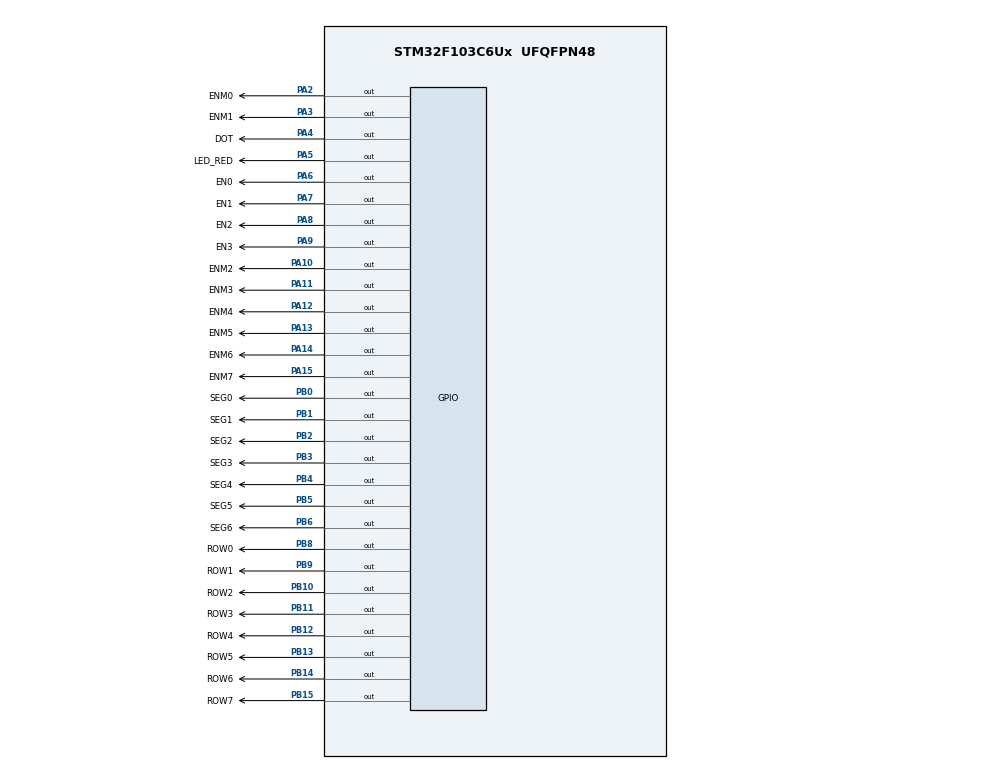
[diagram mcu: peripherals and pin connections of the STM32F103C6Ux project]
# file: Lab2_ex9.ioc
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Mcu.Family=STM32F1
Mcu.Name=STM32F103C6Ux
Mcu.Package=UFQFPN48
NVIC.PriorityGroup=NVIC_PRIORITYGROUP_4
NVIC.TIM2_IRQn=true\:0\:0\:false\:false\:true\:true\:true
PA10.GPIO_Label=ENM2
PA10.Signal=GPIO_Output
PA11.GPIO_Label=ENM3
PA11.Signal=GPIO_Output
PA12.GPIO_Label=ENM4
PA12.Signal=GPIO_Output
PA13.GPIO_Label=ENM5
PA13.Signal=GPIO_Output
PA14.GPIO_Label=ENM6
PA14.Signal=GPIO_Output
PA15.GPIO_Label=ENM7
PA15.Signal=GPIO_Output
PA2.GPIO_Label=ENM0
PA2.Signal=GPIO_Output
PA3.GPIO_Label=ENM1
PA3.Signal=GPIO_Output
PA4.GPIO_Label=DOT
PA4.Signal=GPIO_Output
PA5.GPIO_Label=LED_RED
PA5.Signal=GPIO_Output
PA6.GPIO_Label=EN0
PA6.Signal=GPIO_Output
PA7.GPIO_Label=EN1
PA7.Signal=GPIO_Output
PA8.GPIO_Label=EN2
PA8.Signal=GPIO_Output
PA9.GPIO_Label=EN3
PA9.Signal=GPIO_Output
PB0.GPIO_Label=SEG0
PB0.Signal=GPIO_Output
PB1.GPIO_Label=SEG1
PB1.Signal=GPIO_Output
PB10.GPIO_Label=ROW2
PB10.Signal=GPIO_Output
PB11.GPIO_Label=ROW3
PB11.Signal=GPIO_Output
PB12.GPIO_Label=ROW4
PB12.Signal=GPIO_Output
PB13.GPIO_Label=ROW5
PB13.Signal=GPIO_Output
PB14.GPIO_Label=ROW6
PB14.Signal=GPIO_Output
PB15.GPIO_Label=ROW7
PB15.Signal=GPIO_Output
PB2.GPIO_Label=SEG2
PB2.Signal=GPIO_Output
PB3.GPIO_Label=SEG3
PB3.Signal=GPIO_Output
PB4.GPIO_Label=SEG4
PB4.Signal=GPIO_Output
PB5.GPIO_Label=SEG5
PB5.Signal=GPIO_Output
PB6.GPIO_Label=SEG6
PB6.Signal=GPIO_Output
PB8.GPIO_Label=ROW0
PB8.Signal=GPIO_Output
PB9.GPIO_Label=ROW1
PB9.Signal=GPIO_Output
ProjectManager.HeapSize=0x200
ProjectManager.StackSize=0x400
ProjectManager.TargetToolchain=STM32CubeIDE
RCC.APB1Freq_Value=8000000
RCC.APB2Freq_Value=8000000
TIM2.Period=9
TIM2.Prescaler=7999
VP_SYS_VS_ND.Mode=No_Debug
VP_TIM2_VS_ClockSourceINT.Mode=Internal
board=custom

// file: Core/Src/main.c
/* USER CODE BEGIN Header */
/**
  ******************************************************************************
  * @file           : main.c
  * @brief          : Main program body
  ******************************************************************************
  * @attention
  *
  * <h2><center>&copy; Copyright (c) 2022 STMicroelectronics.
  * All rights reserved.</center></h2>
  *
  * This software component is licensed by ST under BSD 3-Clause license,
  * the "License"; You may not use this file except in compliance with the
  * License. You may obtain a copy of the License at:
  *                        opensource.org/licenses/BSD-3-Clause
  *
  ******************************************************************************
  */
/* USER CODE END Header */
#include "main.h"
#include "software_timer.h"

TIM_HandleTypeDef htim2;

void SystemClock_Config(void);
static void MX_GPIO_Init(void);
static void MX_TIM2_Init(void);

/* USER CODE BEGIN 0 */
void display7SEG(int num) {
	if (num==0) {
		HAL_GPIO_WritePin(SEG0_GPIO_Port, SEG0_Pin, RESET);
		HAL_GPIO_WritePin(SEG1_GPIO_Port, SEG1_Pin, RESET);
		HAL_GPIO_WritePin(SEG2_GPIO_Port, SEG2_Pin, RESET);
		HAL_GPIO_WritePin(SEG3_GPIO_Port, SEG3_Pin, RESET);
		HAL_GPIO_WritePin(SEG4_GPIO_Port, SEG4_Pin, RESET);
		HAL_GPIO_WritePin(SEG5_GPIO_Port, SEG5_Pin, RESET);
		HAL_GPIO_WritePin(SEG6_GPIO_Port, SEG6_Pin, SET);
	}
	if (num==1) {
		HAL_GPIO_WritePin(SEG0_GPIO_Port, SEG0_Pin, SET);
		HAL_GPIO_WritePin(SEG1_GPIO_Port, SEG1_Pin, RESET);
		HAL_GPIO_WritePin(SEG2_GPIO_Port, SEG2_Pin, RESET);
		HAL_GPIO_WritePin(SEG3_GPIO_Port, SEG3_Pin, SET);
		HAL_GPIO_WritePin(SEG4_GPIO_Port, SEG4_Pin, SET);
		HAL_GPIO_WritePin(SEG5_GPIO_Port, SEG5_Pin, SET);
		HAL_GPIO_WritePin(SEG6_GPIO_Port, SEG6_Pin, SET);
	}
	if (num==2) {
		HAL_GPIO_WritePin(SEG0_GPIO_Port, SEG0_Pin, RESET);
		HAL_GPIO_WritePin(SEG1_GPIO_Port, SEG1_Pin, RESET);
		HAL_GPIO_WritePin(SEG2_GPIO_Port, SEG2_Pin, SET);
		HAL_GPIO_WritePin(SEG3_GPIO_Port, SEG3_Pin, RESET);
		HAL_GPIO_WritePin(SEG4_GPIO_Port, SEG4_Pin, RESET);
		HAL_GPIO_WritePin(SEG5_GPIO_Port, SEG5_Pin, SET);
		HAL_GPIO_WritePin(SEG6_GPIO_Port, SEG6_Pin, RESET);
	}
	if (num==3) {
		HAL_GPIO_WritePin(SEG0_GPIO_Port, SEG0_Pin, RESET);
		HAL_GPIO_WritePin(SEG1_GPIO_Port, SEG1_Pin, RESET);
		HAL_GPIO_WritePin(SEG2_GPIO_Port, SEG2_Pin, RESET);
		HAL_GPIO_WritePin(SEG3_GPIO_Port, SEG3_Pin, RESET);
		HAL_GPIO_WritePin(SEG4_GPIO_Port, SEG4_Pin, SET);
		HAL_GPIO_WritePin(SEG5_GPIO_Port, SEG5_Pin, SET);
		HAL_GPIO_WritePin(SEG6_GPIO_Port, SEG6_Pin, RESET);
	}
	if (num==4) {
		HAL_GPIO_WritePin(SEG0_GPIO_Port, SEG0_Pin, SET);
		HAL_GPIO_WritePin(SEG1_GPIO_Port, SEG1_Pin, RESET);
		HAL_GPIO_WritePin(SEG2_GPIO_Port, SEG2_Pin, RESET);
		HAL_GPIO_WritePin(SEG3_GPIO_Port, SEG3_Pin, SET);
		HAL_GPIO_WritePin(SEG4_GPIO_Port, SEG4_Pin, SET);
		HAL_GPIO_WritePin(SEG5_GPIO_Port, SEG5_Pin, RESET);
		HAL_GPIO_WritePin(SEG6_GPIO_Port, SEG6_Pin, RESET);
	}
	if (num==5) {
		HAL_GPIO_WritePin(SEG0_GPIO_Port, SEG0_Pin, RESET);
		HAL_GPIO_WritePin(SEG1_GPIO_Port, SEG1_Pin, SET);
		HAL_GPIO_WritePin(SEG2_GPIO_Port, SEG2_Pin, RESET);
		HAL_GPIO_WritePin(SEG3_GPIO_Port, SEG3_Pin, RESET);
		HAL_GPIO_WritePin(SEG4_GPIO_Port, SEG4_Pin, SET);
		HAL_GPIO_WritePin(SEG5_GPIO_Port, SEG5_Pin, RESET);
		HAL_GPIO_WritePin(SEG6_GPIO_Port, SEG6_Pin, RESET);
	}
	if (num==6) {
		HAL_GPIO_WritePin(SEG0_GPIO_Port, SEG0_Pin, RESET);
		HAL_GPIO_WritePin(SEG1_GPIO_Port, SEG1_Pin, SET);
		HAL_GPIO_WritePin(SEG2_GPIO_Port, SEG2_Pin, RESET);
		HAL_GPIO_WritePin(SEG3_GPIO_Port, SEG3_Pin, RESET);
		HAL_GPIO_WritePin(SEG4_GPIO_Port, SEG4_Pin, RESET);
		HAL_GPIO_WritePin(SEG5_GPIO_Port, SEG5_Pin, RESET);
		HAL_GPIO_WritePin(SEG6_GPIO_Port, SEG6_Pin, RESET);
	}
	if (num==7) {
		HAL_GPIO_WritePin(SEG0_GPIO_Port, SEG0_Pin, RESET);
		HAL_GPIO_WritePin(SEG1_GPIO_Port, SEG1_Pin, RESET);
		HAL_GPIO_WritePin(SEG2_GPIO_Port, SEG2_Pin, RESET);
		HAL_GPIO_WritePin(SEG3_GPIO_Port, SEG3_Pin, SET);
		HAL_GPIO_WritePin(SEG4_GPIO_Port, SEG4_Pin, SET);
		HAL_GPIO_WritePin(SEG5_GPIO_Port, SEG5_Pin, SET);
		HAL_GPIO_WritePin(SEG6_GPIO_Port, SEG6_Pin, SET);
	}
	if (num==8) {
		HAL_GPIO_WritePin(SEG0_GPIO_Port, SEG0_Pin, RESET);
		HAL_GPIO_WritePin(SEG1_GPIO_Port, SEG1_Pin, RESET);
		HAL_GPIO_WritePin(SEG2_GPIO_Port, SEG2_Pin, RESET);
		HAL_GPIO_WritePin(SEG3_GPIO_Port, SEG3_Pin, RESET);
		HAL_GPIO_WritePin(SEG4_GPIO_Port, SEG4_Pin, RESET);
		HAL_GPIO_WritePin(SEG5_GPIO_Port, SEG5_Pin, RESET);
		HAL_GPIO_WritePin(SEG6_GPIO_Port, SEG6_Pin, RESET);
	}
	if (num==9) {
		HAL_GPIO_WritePin(SEG0_GPIO_Port, SEG0_Pin, RESET);
		HAL_GPIO_WritePin(SEG1_GPIO_Port, SEG1_Pin, RESET);
		HAL_GPIO_WritePin(SEG2_GPIO_Port, SEG2_Pin, RESET);
		HAL_GPIO_WritePin(SEG3_GPIO_Port, SEG3_Pin, RESET);
		HAL_GPIO_WritePin(SEG4_GPIO_Port, SEG4_Pin, SET);
		HAL_GPIO_WritePin(SEG5_GPIO_Port, SEG5_Pin, RESET);
		HAL_GPIO_WritePin(SEG6_GPIO_Port, SEG6_Pin, RESET);
	}
}
const int MAX_LED=4;
int index_led=0;
int led_buffer[4]={1,2,3,4};
int hour,minute,second;
void updateClockBuffer() {
	led_buffer[1]=hour%10;
	led_buffer[0]=hour/10;
	led_buffer[3]=minute%10;
	led_buffer[2]=minute/10;
}
void update7SEG(int index) {
	switch (index){
	case 0:
		HAL_GPIO_WritePin(EN0_GPIO_Port, EN0_Pin, RESET);
		HAL_GPIO_WritePin(EN1_GPIO_Port, EN1_Pin, SET);
		HAL_GPIO_WritePin(EN2_GPIO_Port, EN2_Pin, SET);
		HAL_GPIO_WritePin(EN3_GPIO_Port, EN3_Pin, SET);
		display7SEG(led_buffer[0]);
		break;
	case 1:
		HAL_GPIO_WritePin(EN0_GPIO_Port, EN0_Pin, SET);
		HAL_GPIO_WritePin(EN1_GPIO_Port, EN1_Pin, RESET);
		HAL_GPIO_WritePin(EN2_GPIO_Port, EN2_Pin, SET);
		HAL_GPIO_WritePin(EN3_GPIO_Port, EN3_Pin, SET);
		display7SEG(led_buffer[1]);
		break;
	case 2:
		HAL_GPIO_WritePin(EN0_GPIO_Port, EN0_Pin, SET);
		HAL_GPIO_WritePin(EN1_GPIO_Port, EN1_Pin, SET);
		HAL_GPIO_WritePin(EN2_GPIO_Port, EN2_Pin, SET);
		HAL_GPIO_WritePin(EN3_GPIO_Port, EN3_Pin, RESET);
		display7SEG(led_buffer[2]);
		break;
	case 3:
		HAL_GPIO_WritePin(EN0_GPIO_Port, EN0_Pin, SET);
		HAL_GPIO_WritePin(EN1_GPIO_Port, EN1_Pin, SET);
		HAL_GPIO_WritePin(EN2_GPIO_Port, EN2_Pin, RESET);
		HAL_GPIO_WritePin(EN3_GPIO_Port, EN3_Pin, SET);
		display7SEG(led_buffer[3]);
		break;
	default:
		break;
	}
}
const int MAX_LED_MATRIX=8;
int index_led_matrix=0;
uint8_t matrix_buffer[8]={0x18, 0x24, 0x42, 0x42, 0x7E, 0x42, 0x42, 0x42};
void clearcol() {
	HAL_GPIO_WritePin(ENM0_GPIO_Port, ENM0_Pin, RESET);
	HAL_GPIO_WritePin(ENM1_GPIO_Port, ENM1_Pin, RESET);
	HAL_GPIO_WritePin(ENM2_GPIO_Port, ENM2_Pin, RESET);
	HAL_GPIO_WritePin(ENM3_GPIO_Port, ENM3_Pin, RESET);
	HAL_GPIO_WritePin(ENM4_GPIO_Port, ENM4_Pin, RESET);
	HAL_GPIO_WritePin(ENM5_GPIO_Port, ENM5_Pin, RESET);
	HAL_GPIO_WritePin(ENM6_GPIO_Port, ENM6_Pin, RESET);
	HAL_GPIO_WritePin(ENM7_GPIO_Port, ENM7_Pin, RESET);
}
void updateLEDMatrix(int index) {
	switch (index) {
	case 0:
		clearcol();
		HAL_GPIO_WritePin(ENM0_GPIO_Port, ENM0_Pin, SET);
		HAL_GPIO_WritePin(ROW7_GPIO_Port, ROW7_Pin, RESET);
		HAL_GPIO_WritePin(ROW0_GPIO_Port, 0xFF00, RESET);
		HAL_GPIO_WritePin(ROW0_GPIO_Port, matrix_buffer[0]*0x100, SET);
		break;
	case 1:
		clearcol();
		HAL_GPIO_WritePin(ENM1_GPIO_Port, ENM1_Pin, SET);
		HAL_GPIO_WritePin(ROW0_GPIO_Port, ROW0_Pin, RESET);
		HAL_GPIO_WritePin(ROW1_GPIO_Port, 0xFF00, RESET);
		HAL_GPIO_WritePin(ROW1_GPIO_Port, matrix_buffer[1]*0x100, SET);
		break;
	case 2:
		clearcol();
		HAL_GPIO_WritePin(ENM2_GPIO_Port, ENM2_Pin, SET);
		HAL_GPIO_WritePin(ROW1_GPIO_Port, ROW1_Pin, RESET);
		HAL_GPIO_WritePin(ROW2_GPIO_Port, 0xFF00, RESET);
		HAL_GPIO_WritePin(ROW2_GPIO_Port, matrix_buffer[2]*0x100, SET);
		break;
	case 3:
		clearcol();
		HAL_GPIO_WritePin(ENM3_GPIO_Port, ENM3_Pin, SET);
		HAL_GPIO_WritePin(ROW2_GPIO_Port, ROW2_Pin, RESET);
		HAL_GPIO_WritePin(ROW3_GPIO_Port, 0xFF00, RESET);
		HAL_GPIO_WritePin(ROW3_GPIO_Port, matrix_buffer[3]*0x100, SET);
		break;
	case 4:
		clearcol();
		HAL_GPIO_WritePin(ENM4_GPIO_Port, ENM4_Pin, SET);
		HAL_GPIO_WritePin(ROW3_GPIO_Port, ROW3_Pin, RESET);
		HAL_GPIO_WritePin(ROW4_GPIO_Port, 0xFF00, RESET);
		HAL_GPIO_WritePin(ROW4_GPIO_Port, matrix_buffer[4]*0x100, SET);
		break;
	case 5:
		clearcol();
		HAL_GPIO_WritePin(ENM5_GPIO_Port, ENM5_Pin, SET);
		HAL_GPIO_WritePin(ROW4_GPIO_Port, ROW4_Pin, RESET);
		HAL_GPIO_WritePin(ROW5_GPIO_Port, 0xFF00, RESET);
		HAL_GPIO_WritePin(ROW5_GPIO_Port, matrix_buffer[5]*0x100, SET);
		break;
	case 6:
		clearcol();
		HAL_GPIO_WritePin(ENM6_GPIO_Port, ENM6_Pin, SET);
		HAL_GPIO_WritePin(ROW5_GPIO_Port, ROW5_Pin, RESET);
		HAL_GPIO_WritePin(ROW6_GPIO_Port, 0xFF00, RESET);
		HAL_GPIO_WritePin(ROW6_GPIO_Port, matrix_buffer[6]*0x100, SET);
		break;
	case 7:
		clearcol();
		HAL_GPIO_WritePin(ENM7_GPIO_Port, ENM7_Pin, SET);
		HAL_GPIO_WritePin(ROW6_GPIO_Port, ROW6_Pin, RESET);
		HAL_GPIO_WritePin(ROW7_GPIO_Port, 0xFF00, RESET);
		HAL_GPIO_WritePin(ROW7_GPIO_Port, matrix_buffer[7]*0x100, SET);
		break;
	default:
		break;
	}
}
void HAL_TIM_PeriodElapsedCallback(TIM_HandleTypeDef *htim) {
	timerRun();
}
/* USER CODE END 0 */

int main(void)
{

  /* MCU Configuration--------------------------------------------------------*/

  /* Reset of all peripherals, Initializes the Flash interface and the Systick. */
  HAL_Init();

  /* Configure the system clock */
  SystemClock_Config();

  /* Initialize all configured peripherals */
  MX_GPIO_Init();
  MX_TIM2_Init();
  /* USER CODE BEGIN 2 */
  HAL_TIM_Base_Start_IT(&htim2);
  /* USER CODE END 2 */

  /* Infinite loop */
  /* USER CODE BEGIN WHILE */
  hour=15;
  minute=8;
  second=50;
  setTimer1(100);
  setTimer2(100);
  setTimer3(25);
  setTimer4(100);
  setTimer5(100);
  while (1)
  {
	  if (timer1_flag==1) {
		  HAL_GPIO_TogglePin(LED_RED_GPIO_Port, LED_RED_Pin);
		  setTimer1(200);
	  }
	  if (timer2_flag==1) {
		  HAL_GPIO_TogglePin(DOT_GPIO_Port, DOT_Pin);
		  setTimer2(100);
	  }
	  if (timer3_flag==1) {
		  if (index_led>3) index_led=0;
		  update7SEG(index_led++);
		  setTimer3(25);
	  }
	  if (timer4_flag==1) {
		  second++;
		  if ( second >= 60) {
		   second = 0;
		   minute++;
		  }
		  if( minute >= 60) {
		   minute = 0;
		   hour++;
		  }
		  if( hour >=24) {
		   hour = 0;
		  }
		   updateClockBuffer();
		   setTimer4(100);
	  }
	  if (timer5_flag==1) {
		  if (index_led_matrix>7) index_led_matrix=0;
		  updateLEDMatrix(index_led_matrix++);
		  setTimer5(50);
	  }
    /* USER CODE END WHILE */

  }
}

void SystemClock_Config(void)
{
  RCC_OscInitTypeDef RCC_OscInitStruct = {0};
  RCC_ClkInitTypeDef RCC_ClkInitStruct = {0};

  /** Initializes the RCC Oscillators according to the specified parameters
  * in the RCC_OscInitTypeDef structure.
  */
  RCC_OscInitStruct.OscillatorType = RCC_OSCILLATORTYPE_HSI;
  RCC_OscInitStruct.HSIState = RCC_HSI_ON;
  RCC_OscInitStruct.HSICalibrationValue = RCC_HSICALIBRATION_DEFAULT;
  RCC_OscInitStruct.PLL.PLLState = RCC_PLL_NONE;
  if (HAL_RCC_OscConfig(&RCC_OscInitStruct) != HAL_OK)
  {
    Error_Handler();
  }
  /** Initializes the CPU, AHB and APB buses clocks
  */
  RCC_ClkInitStruct.ClockType = RCC_CLOCKTYPE_HCLK|RCC_CLOCKTYPE_SYSCLK
                              |RCC_CLOCKTYPE_PCLK1|RCC_CLOCKTYPE_PCLK2;
  RCC_ClkInitStruct.SYSCLKSource = RCC_SYSCLKSOURCE_HSI;
  RCC_ClkInitStruct.AHBCLKDivider = RCC_SYSCLK_DIV1;
  RCC_ClkInitStruct.APB1CLKDivider = RCC_HCLK_DIV1;
  RCC_ClkInitStruct.APB2CLKDivider = RCC_HCLK_DIV1;

  if (HAL_RCC_ClockConfig(&RCC_ClkInitStruct, FLASH_LATENCY_0) != HAL_OK)
  {
    Error_Handler();
  }
}

static void MX_TIM2_Init(void)
{

  TIM_ClockConfigTypeDef sClockSourceConfig = {0};
  TIM_MasterConfigTypeDef sMasterConfig = {0};

  htim2.Instance = TIM2;
  htim2.Init.Prescaler = 7999;
  htim2.Init.CounterMode = TIM_COUNTERMODE_UP;
  htim2.Init.Period = 9;
  htim2.Init.ClockDivision = TIM_CLOCKDIVISION_DIV1;
  htim2.Init.AutoReloadPreload = TIM_AUTORELOAD_PRELOAD_DISABLE;
  if (HAL_TIM_Base_Init(&htim2) != HAL_OK)
  {
    Error_Handler();
  }
  sClockSourceConfig.ClockSource = TIM_CLOCKSOURCE_INTERNAL;
  if (HAL_TIM_ConfigClockSource(&htim2, &sClockSourceConfig) != HAL_OK)
  {
    Error_Handler();
  }
  sMasterConfig.MasterOutputTrigger = TIM_TRGO_RESET;
  sMasterConfig.MasterSlaveMode = TIM_MASTERSLAVEMODE_DISABLE;
  if (HAL_TIMEx_MasterConfigSynchronization(&htim2, &sMasterConfig) != HAL_OK)
  {
    Error_Handler();
  }

}

static void MX_GPIO_Init(void)
{
  GPIO_InitTypeDef GPIO_InitStruct = {0};

  /* GPIO Ports Clock Enable */
  __HAL_RCC_GPIOA_CLK_ENABLE();
  __HAL_RCC_GPIOB_CLK_ENABLE();

  /*Configure GPIO pin Output Level */
  HAL_GPIO_WritePin(GPIOA, ENM0_Pin|ENM1_Pin|DOT_Pin|LED_RED_Pin
                          |EN0_Pin|EN1_Pin|EN2_Pin|EN3_Pin
                          |ENM2_Pin|ENM3_Pin|ENM4_Pin|ENM5_Pin
                          |ENM6_Pin|ENM7_Pin, GPIO_PIN_RESET);

  /*Configure GPIO pin Output Level */
  HAL_GPIO_WritePin(GPIOB, SEG0_Pin|SEG1_Pin|SEG2_Pin|ROW2_Pin
                          |ROW3_Pin|ROW4_Pin|ROW5_Pin|ROW6_Pin
                          |ROW7_Pin|SEG3_Pin|SEG4_Pin|SEG5_Pin
                          |SEG6_Pin|ROW0_Pin|ROW1_Pin, GPIO_PIN_RESET);

  /*Configure GPIO pins : ENM0_Pin ENM1_Pin DOT_Pin LED_RED_Pin
                           EN0_Pin EN1_Pin EN2_Pin EN3_Pin
                           ENM2_Pin ENM3_Pin ENM4_Pin ENM5_Pin
                           ENM6_Pin ENM7_Pin */
  GPIO_InitStruct.Pin = ENM0_Pin|ENM1_Pin|DOT_Pin|LED_RED_Pin
                          |EN0_Pin|EN1_Pin|EN2_Pin|EN3_Pin
                          |ENM2_Pin|ENM3_Pin|ENM4_Pin|ENM5_Pin
                          |ENM6_Pin|ENM7_Pin;
  GPIO_InitStruct.Mode = GPIO_MODE_OUTPUT_PP;
  GPIO_InitStruct.Pull = GPIO_NOPULL;
  GPIO_InitStruct.Speed = GPIO_SPEED_FREQ_LOW;
  HAL_GPIO_Init(GPIOA, &GPIO_InitStruct);

  /*Configure GPIO pins : SEG0_Pin SEG1_Pin SEG2_Pin ROW2_Pin
                           ROW3_Pin ROW4_Pin ROW5_Pin ROW6_Pin
                           ROW7_Pin SEG3_Pin SEG4_Pin SEG5_Pin
                           SEG6_Pin ROW0_Pin ROW1_Pin */
  GPIO_InitStruct.Pin = SEG0_Pin|SEG1_Pin|SEG2_Pin|ROW2_Pin
                          |ROW3_Pin|ROW4_Pin|ROW5_Pin|ROW6_Pin
                          |ROW7_Pin|SEG3_Pin|SEG4_Pin|SEG5_Pin
                          |SEG6_Pin|ROW0_Pin|ROW1_Pin;
  GPIO_InitStruct.Mode = GPIO_MODE_OUTPUT_PP;
  GPIO_InitStruct.Pull = GPIO_NOPULL;
  GPIO_InitStruct.Speed = GPIO_SPEED_FREQ_LOW;
  HAL_GPIO_Init(GPIOB, &GPIO_InitStruct);

}

void Error_Handler(void)
{
  __disable_irq();
  while (1)
  {
  }
}

/************************ (C) COPYRIGHT STMicroelectronics *****END OF FILE****/
